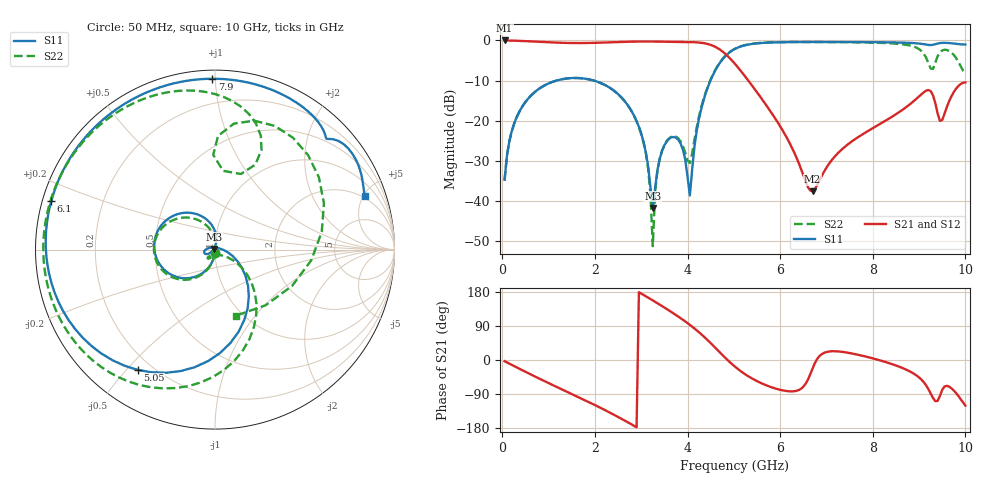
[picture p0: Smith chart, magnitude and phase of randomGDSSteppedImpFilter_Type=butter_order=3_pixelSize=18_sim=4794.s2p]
! freq	dB(S11)	phase(S11)	dB(S12)	phase(S12)
!  dB(S21)	phase(S21)	dB(S22)	phase(S22)
!S-par simulation data
#  GHz  S  DB  R 50
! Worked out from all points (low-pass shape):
!   200 points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, 50 MHz to 10 GHz, reference 50 ohm
!   highest |S21| = -0.01 dB at 50 MHz (marker M1); lowest = -37.6 dB at 6.7 GHz (marker M2)
!   |S21| within 3 dB of the highest: start of sweep to 4.781 GHz
!   lowest |S11| = -41.8 dB at 3.25 GHz (marker M3), VSWR 1.02, Z = 49.3 + j0.389 ohm
!   |S11| at or under -10 dB: start of sweep to 1.174 GHz; 1.972 GHz to 4.495 GHz (2.524 GHz wide, 78 % of centre)
!   |S22| runs from -51.3 to -0.4 dB; largest |S21 - S12| = 0
!   S11 on the Smith chart (normalised r, x): 50 MHz: 1.00, -0.04; 5.05 GHz: 0.15, -0.54; 6.1 GHz: 0.03, +0.15; 7.9 GHz: 0.05, +0.98; 10 GHz: 1.84, +5.17
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0.05  -34.75 -93.1  -0.01 -3.2  -0.01 -3.2  -34.75 -92.9
0.2  -22.83 -103.2  -0.04 -12.6  -0.04 -12.6  -22.83 -102.4
0.5  -15.35 -122.6  -0.17 -31.2  -0.17 -31.2  -15.35 -120.7
1.75  -9.48 162.0  -0.65 -104.1  -0.65 -104.1  -9.48 169.1
2.9  -20.11 89.4  -0.28 -177.5  -0.28 -177.5  -20.18 99.7
3.15  -31.45 83.2  -0.27 164.6  -0.27 164.6  -32.06 82.4
3.25  -41.78 151.0  -0.28 157.2  -0.28 157.2  -51.32 -57.3
3.3  -36.86 -159.0  -0.28 153.5  -0.28 153.5  -37.84 -103.4
3.4  -29.49 -146.3  -0.30 146.1  -0.30 146.1  -29.47 -111.4
3.8  -24.78 -174.3  -0.37 114.6  -0.37 114.6  -24.42 -132.0
4.05  -38.68 79.3  -0.41 92.8  -0.41 92.8  -30.57 -79.1
4.4  -12.92 -41.0  -0.79 56.4  -0.79 56.4  -12.69 -38.3
5.05  -1.97 -122.8  -6.19 -20.2  -6.19 -20.2  -1.91 -106.0
6.1  -0.43 163.5  -23.37 -81.2  -23.37 -81.2  -0.40 -170.4
6.7  -0.39 136.7  -37.63 -21.9  -37.63 -21.9  -0.39 167.2
7.9  -0.43 90.9  -22.57 7.5  -22.57 7.5  -0.53 127.7
8.35  -0.47 74.6  -19.50 -8.2  -19.50 -8.2  -0.70 111.1
9.2  -1.11 45.4  -12.36 -76.6  -12.36 -76.6  -5.61 64.6
9.35  -0.94 43.3  -15.63 -108.4  -15.63 -108.4  -5.54 91.1
9.55  -0.60 34.9  -18.27 -69.9  -18.27 -69.9  -2.32 64.3
9.8  -0.84 25.1  -12.03 -87.5  -12.03 -87.5  -4.39 9.5
10  -1.03 19.6  -10.47 -120.4  -10.47 -120.4  -8.26 -72.4
